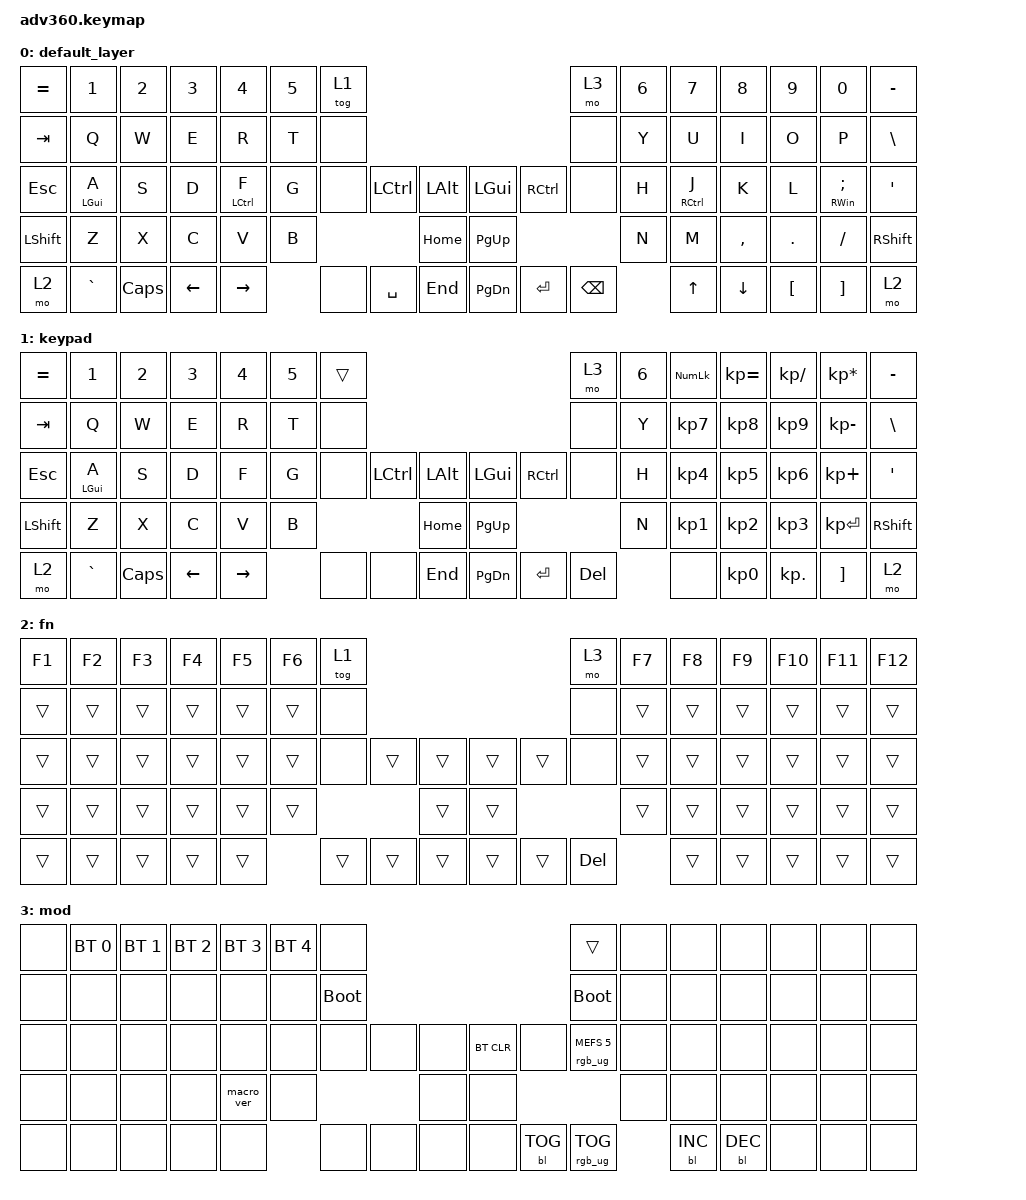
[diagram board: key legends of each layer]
#include <behaviors.dtsi>
#include <dt-bindings/zmk/backlight.h>
#include <dt-bindings/zmk/bt.h>
#include <dt-bindings/zmk/keys.h>
#include <dt-bindings/zmk/rgb.h>

/ {
    behaviors {
        #include "macros.dtsi"
      #include "version.dtsi"
      #ifndef VERSION_MACRO

        macro_ver: macro_ver {
            compatible = "zmk,behavior-macro";
            label = "macro_version";
            #binding-cells = <0>;
            bindings = <&kp RET>;
        };

        #endif

        hm: homerow_mods {
            compatible = "zmk,behavior-hold-tap";
            label = "HOMEROW_MODS";
            #binding-cells = <2>;
            tapping-term-ms = <200>;
            quick_tap_ms = <175>;
            flavor = "tap-preferred";
            bindings = <&kp>, <&kp>;
        };

        hmr: hmr {
            compatible = "zmk,behavior-hold-tap";
            label = "HMR";
            bindings = <&kp>, <&kp>;

            #binding-cells = <2>;
            tapping-term-ms = <280>;
            quick-tap-ms = <175>;
            flavor = "balanced";
            hold-trigger-key-positions = <0 1 14 15 16 17 18 19 20 28 29 30 31 32 33 34 35 46 47 48 49 50 51 60 61 62 63 64 0 1 2 3 4 5 6 14 15 16 17 18 19 20 28 29 30 31 32 33 34 46 47 48 49 50 51 60 61 62 63 64 65 35 36 52 65 66 67 37 38 53 68 69 70>;
            require-prior-idle-ms = <150>;
            hold-trigger-on-release;
        };

        hml: hml {
            compatible = "zmk,behavior-hold-tap";
            label = "HML";
            bindings = <&kp>, <&kp>;

            #binding-cells = <2>;
            tapping-term-ms = <280>;
            quick-tap-ms = <175>;
            flavor = "balanced";
            hold-trigger-key-positions = <35 65 35 36 52 65 66 67 37 53 68 69 70 42 22 23 24 25 26 40 41 42 43 44 54 55 56 57 58 71 72 73 7 8 9 10 11 12 13 21 22 23 24 25 26 27 38 39 40 41 42 43 44 45 54 55 56 57 58 59 69 70 71 72 73 74 75>;
            require-prior-idle-ms = <150>;
            hold-trigger-on-release;
        };
    };

    macros {
    };

    keymap {
        compatible = "zmk,keymap";

        default_layer {
            bindings = <
&kp EQUAL  &kp N1           &kp N2    &kp N3    &kp N4        &kp N5  &tog 1                                                 &mo 3          &kp N6  &kp N7        &kp N8     &kp N9    &kp N0               &kp MINUS
&kp TAB    &kp Q            &kp W     &kp E     &kp R         &kp T   &none                                                  &none          &kp Y   &kp U         &kp I      &kp O     &kp P                &kp BSLH
&kp ESC    &hml LEFT_GUI A  &kp S     &kp D     &hml LCTRL F  &kp G   &none   &kp LCTRL  &kp LALT      &kp LGUI   &kp RCTRL  &none          &kp H   &hmr RCTRL J  &kp K      &kp L     &hmr RIGHT_WIN SEMI  &kp SQT
&kp LSHFT  &kp Z            &kp X     &kp C     &kp V         &kp B                      &kp HOME      &kp PG_UP                            &kp N   &kp M         &kp COMMA  &kp DOT   &kp FSLH             &kp RSHFT
&mo 2      &kp GRAVE        &kp CAPS  &kp LEFT  &kp RIGHT             &none   &kp SPACE  &kp END       &kp PG_DN  &kp ENTER  &kp BACKSPACE          &kp UP        &kp DOWN   &kp LBKT  &kp RBKT             &mo 2
            >;
        };

        keypad {
            bindings = <
&kp EQUAL  &kp N1           &kp N2    &kp N3    &kp N4     &kp N5  &trans                                                 &mo 3    &kp N6  &kp KP_NUM  &kp KP_EQUAL  &kp KP_DIVIDE  &kp KP_MULTIPLY  &kp MINUS
&kp TAB    &kp Q            &kp W     &kp E     &kp R      &kp T   &none                                                  &none    &kp Y   &kp KP_N7   &kp KP_N8     &kp KP_N9      &kp KP_MINUS     &kp BSLH
&kp ESC    &hml LEFT_GUI A  &kp S     &kp D     &kp F      &kp G   &none   &kp LCTRL  &kp LALT      &kp LGUI   &kp RCTRL  &none    &kp H   &kp KP_N4   &kp KP_N5     &kp KP_N6      &kp KP_PLUS      &kp SQT
&kp LSHFT  &kp Z            &kp X     &kp C     &kp V      &kp B                      &kp HOME      &kp PG_UP                      &kp N   &kp KP_N1   &kp KP_N2     &kp KP_N3      &kp KP_ENTER     &kp RSHFT
&mo 2      &kp GRAVE        &kp CAPS  &kp LEFT  &kp RIGHT          &none   &none      &kp END       &kp PG_DN  &kp ENTER  &kp DEL          &none       &kp KP_N0     &kp KP_DOT     &kp RBKT         &mo 2
            >;
        };

        fn {
            bindings = <
&kp F1  &kp F2  &kp F3  &kp F4  &kp F5  &kp F6  &tog 1                                      &mo 3    &kp F7  &kp F8  &kp F9  &kp F10  &kp F11  &kp F12
&trans  &trans  &trans  &trans  &trans  &trans  &none                                       &none    &trans  &trans  &trans  &trans   &trans   &trans
&trans  &trans  &trans  &trans  &trans  &trans  &none   &trans  &trans      &trans  &trans  &none    &trans  &trans  &trans  &trans   &trans   &trans
&trans  &trans  &trans  &trans  &trans  &trans                  &trans      &trans                   &trans  &trans  &trans  &trans   &trans   &trans
&trans  &trans  &trans  &trans  &trans          &trans  &trans  &trans      &trans  &trans  &kp DEL          &trans  &trans  &trans   &trans   &trans
            >;
        };

        mod {
            bindings = <
&none  &bt BT_SEL 0  &bt BT_SEL 1  &bt BT_SEL 2  &bt BT_SEL 3  &bt BT_SEL 4  &none                                                  &trans                  &none  &none       &none       &none  &none  &none
&none  &none         &none         &none         &none         &none         &bootloader                                            &bootloader             &none  &none       &none       &none  &none  &none
&none  &none         &none         &none         &none         &none         &none        &none  &none      &bt BT_CLR  &none       &rgb_ug RGB_MEFS_CMD 5  &none  &none       &none       &none  &none  &none
&none  &none         &none         &none         &macro_ver    &none                             &none      &none                                           &none  &none       &none       &none  &none  &none
&none  &none         &none         &none         &none                       &none        &none  &none      &none       &bl BL_TOG  &rgb_ug RGB_TOG                &bl BL_INC  &bl BL_DEC  &none  &none  &none
            >;
        };
    };
};
